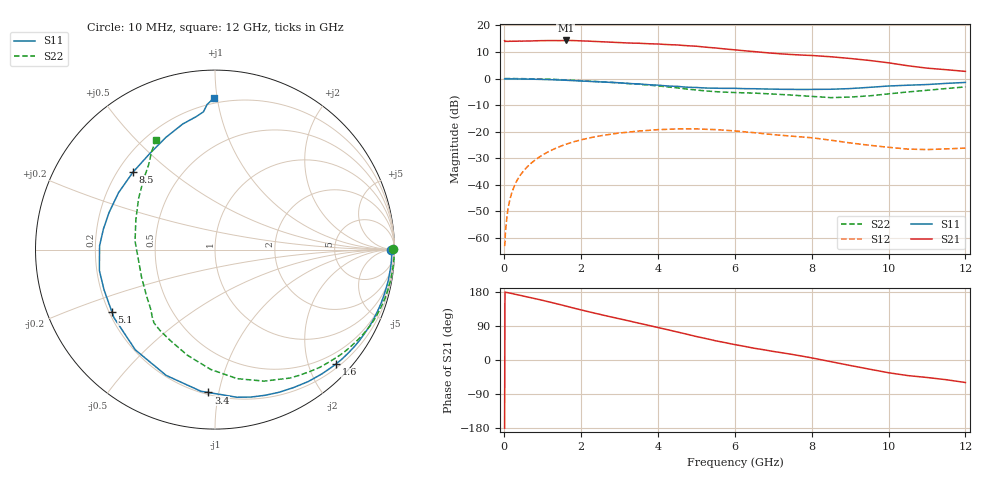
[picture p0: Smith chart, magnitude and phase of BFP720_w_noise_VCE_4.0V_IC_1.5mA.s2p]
! Infineon Technologies  Discrete & RF Semiconductors
! BFP720
! VCE =  4.0 V,  IC =  1.5 mA
! Common Emitter S-Parameters:  Aug 2012
# GHz  S  MA  R  50
!  f  S11  S21  S12  S22
! GHz  MAG  ANG  MAG  ANG  MAG  ANG  MAG  ANG
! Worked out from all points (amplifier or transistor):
!   105 points, 10 MHz to 12 GHz, reference 50 ohm
!   highest |S21| = 14.3 dB at 1.6 GHz (marker M1)
!   |S21| within 3 dB of that: start of sweep to 5.611 GHz
!   unconditionally stable (mu >= 1): 7.794 GHz to 11.79 GHz
!   at 300 MHz: K = 0.04, MSG = 26.6 dB, |S12| = -39.3 dB
!   at 3.6 GHz: K = 0.28, MSG = 16.4 dB, |S12| = -19.7 dB
!   at 12 GHz: K = 0.86, MSG = 14.4 dB, |S12| = -26.2 dB
!   lowest NFmin = 0.43 dB at 450 MHz
!   S11 on the Smith chart (normalised r, x): 10 MHz: open; 1.6 GHz: 0.27, -2.48; 3.4 GHz: 0.21, -0.93; 5.1 GHz: 0.21, -0.27; 8.5 GHz: 0.26, +0.37; 12 GHz: 0.17, +0.98
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0.01  0.9832 -0.0  5.168 -179.9  0.0007 -35.3  0.9943 0.3
0.02  0.9855 -0.4  4.977 179.1  0.0008 74.5  0.9979 -0.3
0.05  0.9855 -1.2  5.019 178.4  0.0018 71.4  0.9973 -1.0
0.12  0.9848 -3.0  5.015 177.1  0.0043 83.3  0.9983 -2.4
0.35  0.9807 -8.9  5.044 172.1  0.0127 82.4  0.9958 -6.8
1  0.9611 -26.2  5.159 157.4  0.0365 70.7  0.9777 -19.9
1.6  0.9277 -43.5  5.204 142.4  0.0577 57.9  0.9421 -32.2
2.1  0.891 -57.6  5.078 129.7  0.073 47.0  0.9015 -42.4
2.6  0.8584 -71.0  4.899 117.8  0.0859 36.7  0.8613 -52.0
3.4  0.7969 -92.7  4.627 99.5  0.101 21.0  0.7892 -67.6
4.1  0.7389 -114.5  4.416 83.4  0.1097 7.7  0.7146 -82.5
4.5  0.7134 -128.5  4.286 74.0  0.1129 0.2  0.668 -92.1
5.1  0.6714 -148.7  3.986 59.8  0.1118 -11.1  0.598 -106.7
5.5  0.6577 -160.0  3.758 50.7  0.1094 -18.2  0.566 -115.7
6.1  0.6501 -172.1  3.41 38.8  0.1018 -27.1  0.5417 -125.3
7  0.6321 169.5  2.987 22.6  0.0879 -36.7  0.511 -133.3
8  0.624 149.4  2.716 5.6  0.0768 -44.2  0.4612 -145.7
8.5  0.6285 136.7  2.568 -4.4  0.0691 -47.9  0.4368 -159.6
9.5  0.6826 113.6  2.191 -24.1  0.0555 -47.8  0.4719 159.1
10  0.7225 104.4  1.975 -33.6  0.0508 -46.3  0.5138 145.8
10.5  0.7483 98.0  1.74 -41.1  0.047 -42.0  0.5589 135.3
12  0.8443 90.4  1.362 -59.4  0.049 -31.2  0.6954 118.2
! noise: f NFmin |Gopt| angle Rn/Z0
0.45  0.43  0.72  5  0.33
1.8  0.58  0.67  30  0.28
2.4  0.68  0.58  79  0.2
5.5  0.99  0.47  92  0.09
10  1.51  0.5  -113  0.24
